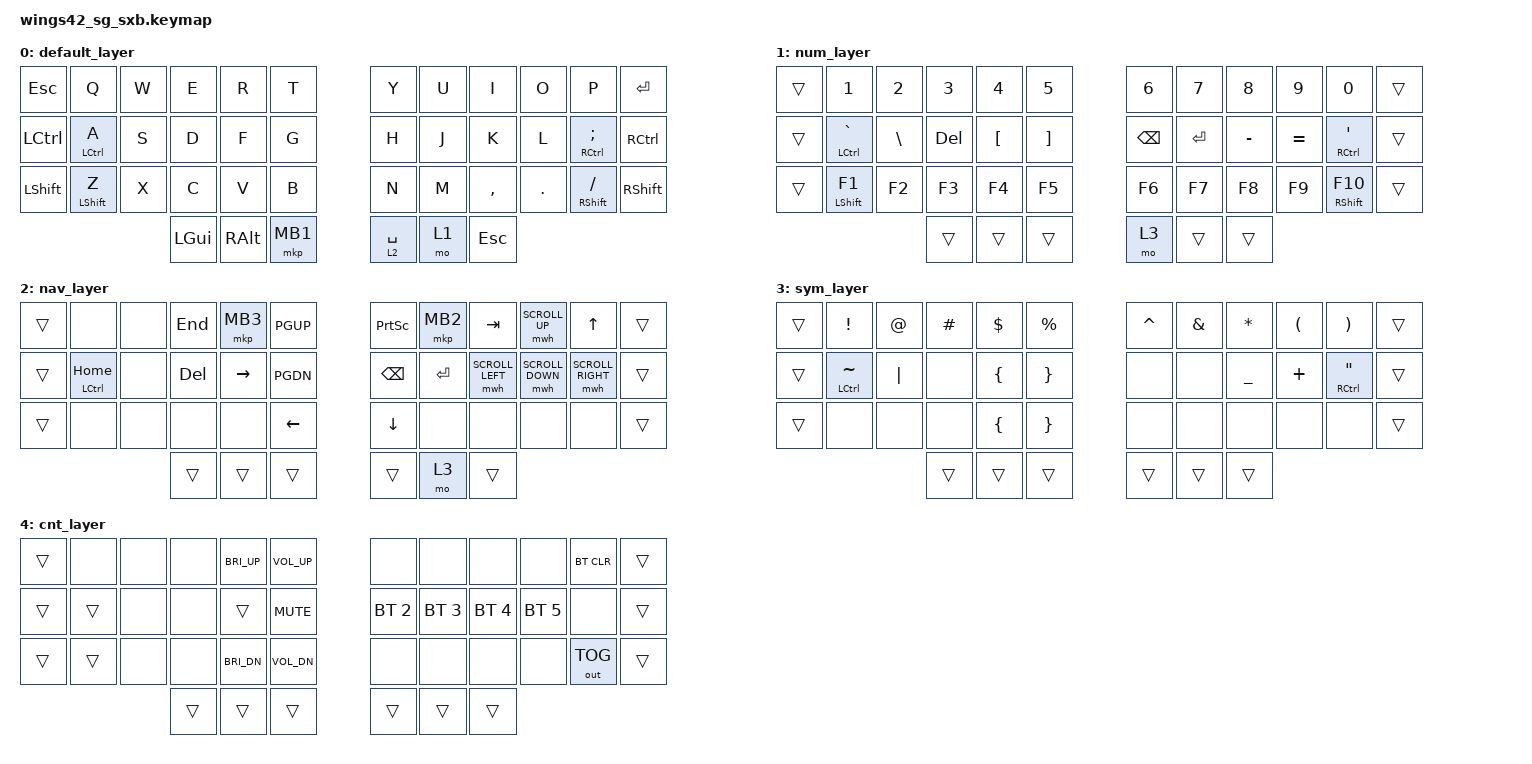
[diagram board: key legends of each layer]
/*
 * Copyright (c) 2022 The ZMK Contributors
 *
 * SPDX-License-Identifier: MIT
 */

#include <behaviors.dtsi>
#include <dt-bindings/zmk/keys.h>
#include <dt-bindings/zmk/bt.h>
#include <dt-bindings/zmk/mouse.h>
#include <dt-bindings/zmk/outputs.h>

&mwh {
	acceleration-exponent=<1>;
};

/ {
	behaviors {
		hm: balanced_homerow_mods {
			compatible = "zmk,behavior-hold-tap";
			label = "HOMEROW_MODS";
			#binding-cells = <2>;
			tapping-term-ms = <1000>;    // <---[[moderate duration]]
			//quick-tap-ms = <125>;
			flavor = "balanced";
			bindings = <&kp>, <&kp>;
		};
	};
	combos {
		compatible = "zmk,combos";
	 	combo_l5 {
	 		timeout-ms = <100>;
	 		key-positions = <47 49>;
	 		bindings = <&mo 4>;
	 	};
	 	combo_rbtl {
	 		timeout-ms = <100>;
	 		key-positions = <47 48 49>;
	 		bindings = <&bootloader>;
	 	};
	};
	keymap {
		compatible = "zmk,keymap";
		default_layer { /* Default */	/* 0 */
			bindings = <
	&kp ESC		&kp Q		&kp W		&kp E		&kp R	 	&kp T				&kp Y		&kp U		&kp I		&kp O		&kp P		&kp RET
	&kp LCTRL	&hm LCTRL A	&kp S		&kp D		&kp F		&kp G				&kp H		&kp J		&kp K		&kp L		&hm RCTRL SEMI	&kp RCTRL
	&kp LSHFT	&hm LSHFT Z	&kp X		&kp C		&kp V		&kp B				&kp N		&kp M		&kp COMMA	&kp DOT		&hm RSHFT FSLH	&kp RSHFT
							&kp LGUI	&kp RALT	&mkp MB1			&lt 2 SPACE	&mo 1		&kp ESC
		>;
		};
	num_layer { /* number */	/* L1 */
			bindings = <
	&trans		&kp N1		&kp N2		&kp N3		&kp N4		&kp N5				&kp N6		&kp N7		&kp N8		&kp N9		&kp N0		&trans
	&trans		&hm LCTRL GRAVE	&kp BSLH	&kp DEL		&kp LBKT	&kp RBKT			&kp BSPC	&kp RET         &kp MINUS	&kp EQUAL	&hm RCTRL SQT	&trans
	&trans		&hm LSHFT F1	&kp F2		&kp F3		&kp F4		&kp F5				&kp F6		&kp F7		&kp F8		&kp F9		&hm RSHFT F10	&trans
							&trans		&trans		&trans				&mo 3		&trans		&trans
		>;
		};
		nav_layer { /* Navigation */	/* L2 */
			bindings = <
	&trans		&none		&none		&kp END		&mkp MB3	&kp PGUP			&kp PSCRN	&mkp MB2	&kp TAB		&mwh SCROLL_UP	&kp UP		&trans
	&trans		&hm LCTRL HOME 	&none		&kp DEL		&kp RIGHT	&kp PGDN			&kp BSPC	&kp RET		&mwh SCROLL_LEFT &mwh SCROLL_DOWN &mwh SCROLL_RIGHT &trans	
	&trans		&none		&none		&none		&none		&kp LEFT			&kp DOWN	&none	 	&none		&none		&none		&trans
						 	&trans		&trans		&trans				&trans		&mo 3		&trans
		>;
		};
		sym_layer { /* Symbol */	/* L3 */
			bindings = <
	&trans		&kp EXCL	&kp AT		&kp HASH	&kp DLLR	&kp PRCNT			&kp CARET	&kp AMPS	&kp STAR	&kp LPAR	&kp RPAR	&trans
	&trans		&hm LCTRL TILDE	&kp PIPE	&none		&kp LBRC	&kp RBRC			&none		&none		&kp UNDER	&kp PLUS	&hm RCTRL DQT	&trans
	&trans		&none		&none		&none		&kp LBRC	&kp RBRC			&none		&none		&none		&none		&none		&trans
							&trans		&trans		&trans				&trans		&trans		&trans
		>;
		};
		cnt_layer { /* Control */	/* L4 */
			bindings = <
	&trans		&none		&none		&none		&kp C_BRI_UP	&kp C_VOL_UP			&none		&none		&none		&none		&bt BT_CLR	&trans
	&trans		&trans		&none		&none		&trans		&kp C_MUTE			&bt BT_SEL 2	&bt BT_SEL 3	&bt BT_SEL 4	&bt BT_SEL 5	&none		&trans	
	&trans		&trans		&none		&none		&kp C_BRI_DN	&kp C_VOL_DN			&none		&none		&none		&none		&out OUT_TOG	&trans	
						 	&trans		&trans		&trans				&trans		&trans		&trans
		>;
		};
	};
};
 
